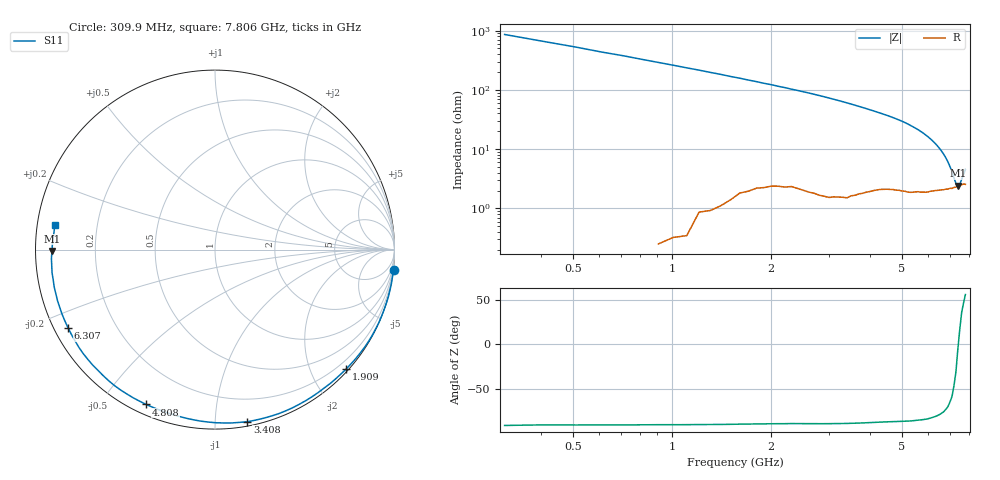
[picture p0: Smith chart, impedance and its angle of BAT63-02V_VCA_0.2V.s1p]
! Infineon Technologies  Discrete & RF Semiconductors
! BAT63-02V
! VCA = 0.2 V
! One-Port S-Parameters
# Hz  S  MA  R  50
!f  S11
!Hz  Mag  Ang
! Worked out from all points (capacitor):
!   76 points, 309.9 MHz to 7.806 GHz, reference 50 ohm
!   read as one part to ground: C = 593 fF near 309.9 MHz
!   lowest |Z| = 2.41 ohm at 7.406 GHz (marker M1)
!   series resonance near 7.428 GHz, so ESL is about 770 pH
!   S11 on the Smith chart (normalised r, x): 309.9 MHz: -0, -17; 1.909 GHz: 0.04, -2.58; 3.408 GHz: 0.03, -1.21; 4.808 GHz: 0.04, -0.65; 6.307 GHz: 0.04, -0.25; 7.806 GHz: 0.05, +0.07
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3.0985e8  1.002 -6.6
5.0975e8  1.001 -10.8
8.096e8  1 -17.3
1.10945e9  0.9994 -24.0
1.30935e9  0.9978 -28.5
1.6092e9  0.9933 -35.3
1.90905e9  0.9883 -42.4
2.2089e9  0.9842 -49.2
2.50875e9  0.982 -56.6
2.8086e9  0.9815 -63.9
3.0085e9  0.9805 -69.0
3.2084e9  0.9777 -74.1
3.4083e9  0.9757 -79.3
3.8081e9  0.9647 -89.7
4.10795e9  0.9559 -97.2
4.50775e9  0.9471 -106.8
4.8076e9  0.9443 -114.0
5.0075e9  0.9432 -118.8
5.2074e9  0.9427 -123.8
5.4073e9  0.9406 -129.0
5.70715e9  0.9372 -136.6
6.007e9  0.9337 -144.3
6.30685e9  0.9275 -152.0
6.6067e9  0.9231 -159.5
6.90655e9  0.9198 -166.9
7.10645e9  0.917 -171.9
7.4063e9  0.9084 -179.5
7.8061e9  0.9036 171.4
